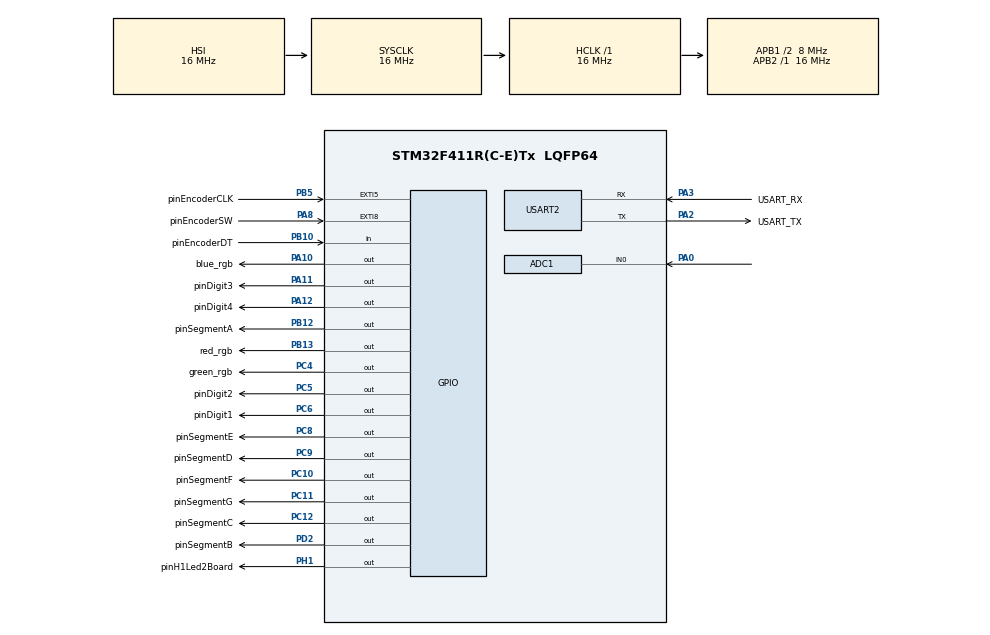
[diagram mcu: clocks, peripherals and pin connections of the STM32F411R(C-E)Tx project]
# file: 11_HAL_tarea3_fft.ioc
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ADC1.Channel-0\#ChannelRegularConversion=ADC_CHANNEL_0
ADC1.ExternalTrigConv=ADC_EXTERNALTRIGCONV_T3_TRGO
ADC1.NbrOfConversionFlag=1
ADC1.Rank-0\#ChannelRegularConversion=1
ADC1.SamplingTime-0\#ChannelRegularConversion=ADC_SAMPLETIME_3CYCLES
ADC1.master=1
Dma.ADC1.0.Direction=DMA_PERIPH_TO_MEMORY
Dma.ADC1.0.FIFOMode=DMA_FIFOMODE_DISABLE
Dma.ADC1.0.Instance=DMA2_Stream0
Dma.ADC1.0.MemDataAlignment=DMA_MDATAALIGN_HALFWORD
Dma.ADC1.0.MemInc=DMA_MINC_ENABLE
Dma.ADC1.0.Mode=DMA_CIRCULAR
Dma.ADC1.0.PeriphDataAlignment=DMA_PDATAALIGN_HALFWORD
Dma.ADC1.0.PeriphInc=DMA_PINC_DISABLE
Dma.ADC1.0.Priority=DMA_PRIORITY_LOW
Dma.Request0=ADC1
Dma.Request1=USART2_RX
Dma.USART2_RX.1.Direction=DMA_PERIPH_TO_MEMORY
Dma.USART2_RX.1.FIFOMode=DMA_FIFOMODE_DISABLE
Dma.USART2_RX.1.Instance=DMA1_Stream5
Dma.USART2_RX.1.MemDataAlignment=DMA_MDATAALIGN_BYTE
Dma.USART2_RX.1.MemInc=DMA_MINC_ENABLE
Dma.USART2_RX.1.Mode=DMA_NORMAL
Dma.USART2_RX.1.PeriphDataAlignment=DMA_PDATAALIGN_BYTE
Dma.USART2_RX.1.PeriphInc=DMA_PINC_DISABLE
Dma.USART2_RX.1.Priority=DMA_PRIORITY_LOW
Mcu.Family=STM32F4
Mcu.Name=STM32F411R(C-E)Tx
Mcu.Package=LQFP64
NVIC.DMA1_Stream5_IRQn=true\:0\:0\:false\:false\:true\:false\:true\:true
NVIC.DMA2_Stream0_IRQn=true\:0\:0\:false\:false\:true\:false\:true\:true
NVIC.EXTI9_5_IRQn=true\:0\:0\:false\:false\:true\:true\:true\:true
NVIC.PriorityGroup=NVIC_PRIORITYGROUP_0
NVIC.TIM2_IRQn=true\:0\:0\:false\:false\:true\:true\:true\:true
NVIC.TIM3_IRQn=true\:0\:0\:false\:false\:true\:true\:true\:true
NVIC.TIM4_IRQn=true\:0\:0\:false\:false\:true\:true\:true\:true
NVIC.USART2_IRQn=true\:0\:0\:false\:false\:true\:true\:true\:true
PA0-WKUP.Signal=ADCx_IN0
PA10.GPIO_Label=blue_rgb
PA10.Signal=GPIO_Output
PA11.GPIO_Label=pinDigit3
PA11.PinState=GPIO_PIN_SET
PA11.Signal=GPIO_Output
PA12.GPIO_Label=pinDigit4
PA12.PinState=GPIO_PIN_SET
PA12.Signal=GPIO_Output
PA13.GPIO_Label=TMS
PA13.Mode=Serial_Wire
PA13.Signal=SYS_JTMS-SWDIO
PA14.GPIO_Label=TCK
PA14.Mode=Serial_Wire
PA14.Signal=SYS_JTCK-SWCLK
PA2.GPIO_Label=USART_TX
PA2.Mode=Asynchronous
PA2.Signal=USART2_TX
PA3.GPIO_Label=USART_RX
PA3.Mode=Asynchronous
PA3.Signal=USART2_RX
PA8.GPIO_Label=pinEncoderSW
PA8.Signal=GPXTI8
PB10.GPIO_Label=pinEncoderDT
PB10.Signal=GPIO_Input
PB12.GPIO_Label=pinSegmentA
PB12.Signal=GPIO_Output
PB13.GPIO_Label=red_rgb
PB13.Signal=GPIO_Output
PB3.GPIO_Label=SWO
PB3.Signal=SYS_JTDO-SWO
PB5.GPIO_Label=pinEncoderCLK
PB5.Signal=GPXTI5
PC10.GPIO_Label=pinSegmentF
PC10.Signal=GPIO_Output
PC11.GPIO_Label=pinSegmentG
PC11.Signal=GPIO_Output
PC12.GPIO_Label=pinSegmentC
PC12.Signal=GPIO_Output
PC14-OSC32_IN.Signal=RCC_OSC32_IN
PC15-OSC32_OUT.Signal=RCC_OSC32_OUT
PC4.GPIO_Label=green_rgb
PC4.Signal=GPIO_Output
PC5.GPIO_Label=pinDigit2
PC5.PinState=GPIO_PIN_SET
PC5.Signal=GPIO_Output
PC6.GPIO_Label=pinDigit1
PC6.PinState=GPIO_PIN_SET
PC6.Signal=GPIO_Output
PC8.GPIO_Label=pinSegmentE
PC8.Signal=GPIO_Output
PC9.GPIO_Label=pinSegmentD
PC9.Signal=GPIO_Output
PD2.GPIO_Label=pinSegmentB
PD2.Signal=GPIO_Output
PH0\ -\ OSC_IN.Signal=RCC_OSC_IN
PH1\ -\ OSC_OUT.GPIO_Label=pinH1Led2Board
PH1\ -\ OSC_OUT.Signal=GPIO_Output
ProjectManager.HeapSize=0x200
ProjectManager.StackSize=0x400
ProjectManager.TargetToolchain=STM32CubeIDE
RCC.48MHZClocksFreq_Value=84000000
RCC.AHBFreq_Value=16000000
RCC.APB1CLKDivider=RCC_HCLK_DIV2
RCC.APB1Freq_Value=8000000
RCC.APB1TimFreq_Value=16000000
RCC.APB2Freq_Value=16000000
RCC.APB2TimFreq_Value=16000000
RCC.CortexFreq_Value=16000000
RCC.FLatency-AdvancedSettings=FLASH_LATENCY_0
RCC.HCLKFreq_Value=16000000
RCC.HSE_VALUE=8000000
RCC.HSI_VALUE=16000000
RCC.LSE_VALUE=32768
RCC.PLLN=336
RCC.PLLP=RCC_PLLP_DIV4
RCC.SYSCLKFreq_VALUE=16000000
RCC.VCOOutputFreq_Value=336000000
SH.ADCx_IN0.0=ADC1_IN0,IN0
TIM2.Period=502-1
TIM2.Prescaler=16000-1
TIM3.AutoReloadPreload=TIM_AUTORELOAD_PRELOAD_ENABLE
TIM3.Period=1200
TIM3.Prescaler=25
TIM3.TIM_MasterOutputTrigger=TIM_TRGO_UPDATE
TIM4.Period=2-1
TIM4.Prescaler=16000-1
USART2.VirtualMode=VM_ASYNC
VP_TIM2_VS_ClockSourceINT.Mode=Internal
VP_TIM3_VS_ClockSourceINT.Mode=Internal
VP_TIM4_VS_ClockSourceINT.Mode=Internal
board=NUCLEO-F411RE

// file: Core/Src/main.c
/* USER CODE BEGIN Header */
/**
  ******************************************************************************
  * @file           : main.c
  * @brief          : Main program body
  ******************************************************************************
  * @attention
  *
  * Copyright (c) 2025 STMicroelectronics.
  * All rights reserved.
  *
  * This software is licensed under terms that can be found in the LICENSE file
  * in the root directory of this software component.
  * If no LICENSE file comes with this software, it is provided AS-IS.
  *
  ******************************************************************************
  */
/* USER CODE END Header */
#include "main.h"

/* USER CODE BEGIN Includes */
// FFT
#include "arm_math.h"
#include <math.h>  // Para funciones sqrtf, powf, etc.

#include "arm_const_structs.h"
#include "maquina_estados_hal.h"
#include <stdint.h>
#include <stdlib.h>  // Para atoi()
#include <string.h>  // Para strncmp()
#include <stdio.h>
/* USER CODE END Includes */

/* USER CODE BEGIN PTD */
// Configuración de muestreo
typedef enum {
    FS_44100 = 0,
    FS_48000,
    FS_96000,
    FS_128000
} sample_rate_t;
/* USER CODE END PTD */

/* USER CODE BEGIN PD */
#define UART_RX_BUF_SIZE 64
#define FFT_SIZE_MAX 2048
#define ADC_BUF_SIZE 1024
#define ADC_TX_BLOCK_SIZE 64   // Para comandoPrintADC
#define FFT_TX_BLOCK_SIZE 32   // Para comandoPrintFFT
/* USER CODE END PD */

ADC_HandleTypeDef hadc1;
DMA_HandleTypeDef hdma_adc1;

TIM_HandleTypeDef htim2;
TIM_HandleTypeDef htim3;
TIM_HandleTypeDef htim4;

UART_HandleTypeDef huart2;
DMA_HandleTypeDef hdma_usart2_rx;

/* USER CODE BEGIN PV */

volatile uint8_t flag_adc_ready = 0;

arm_rfft_fast_instance_f32 fftInstance;
float32_t fft_input[FFT_SIZE_MAX];   // Entrada para la FFT (real)
float32_t fft_output[FFT_SIZE_MAX];  // Salida de la FFT (compleja: real, imag, ...)
float32_t fft_mag[FFT_SIZE_MAX / 2]; // Magnitudes (solo mitad significativa)

volatile uint8_t fft_ready = 0;      // Bandera FFT calculada

volatile sample_rate_t current_sample_rate = FS_48000;  // Valor por defecto
volatile uint16_t fft_size = 1024;                     // Tamaño FFT por defecto

static uint16_t adc_buffer[2048];  // Máximo tamaño necesario
volatile uint8_t uart_rx_flag = 0;
uint8_t uart_rx_buffer[UART_RX_BUF_SIZE];
uint8_t uart_rx_index = 0;

volatile uint8_t timer2FLAG = 0;
volatile uint8_t display7segmentFLAG = 0;
volatile uint8_t encoderCLKextiFLAG = 0;
volatile uint8_t encoderSWextiFLAG = 0;

uint8_t valorCLK=0;
uint8_t valorDT =0;

uint8_t contadorDigito = 0;
uint16_t contador = 0;
uint8_t miles = 0;
uint8_t centenas = 0;
uint8_t decenas = 0;
uint8_t	unidades = 0;

fsm_states_t stateMachine = {0};
/* USER CODE END PV */

void SystemClock_Config(void);
static void MX_GPIO_Init(void);
static void MX_DMA_Init(void);
static void MX_USART2_UART_Init(void);
static void MX_TIM2_Init(void);
static void MX_TIM3_Init(void);
static void MX_ADC1_Init(void);
static void MX_TIM4_Init(void);
/* USER CODE BEGIN PFP */
void set_sample_rate(sample_rate_t new_rate);
void set_fft_size(uint16_t new_size);
void comandoHelp(void);
void comandoPrintFFTPeak(void);
void compute_fft(void);
void clean_command(char* cmd);
void comandoPrintADC(void);
void comandoFrecuenciaMuestreo(char* command);
void comandoRGB(char* command);
void comandoLED(char* command);
void configure_sample_timer(sample_rate_t sample_rate);
void ProcessUARTCommand(char* command);
e_PosibleStates state_machine_action(uint8_t event);
void segmentoON(uint8_t number);
void divideNumber(uint16_t contador);
void mostrarUnidades(void);
void mostrarDecenas(void);
void mostrarCentenas(void);
void mostrarMiles(void);
void update7SegmentDisplay(void);
void InitProgram(void);
/* USER CODE END PFP */

int main(void)
{

  /* MCU Configuration--------------------------------------------------------*/

  /* Reset of all peripherals, Initializes the Flash interface and the Systick. */
  HAL_Init();

  /* Configure the system clock */
  SystemClock_Config();

  /* Initialize all configured peripherals */
  MX_GPIO_Init();
  MX_DMA_Init();
  MX_USART2_UART_Init();
  MX_TIM2_Init();
  MX_TIM3_Init();
  MX_ADC1_Init();
  MX_TIM4_Init();
  /* USER CODE BEGIN 2 */
  InitProgram();

  arm_rfft_fast_init_f32(&fftInstance, fft_size);
  HAL_TIM_Base_Start(&htim3);
  HAL_TIM_Base_Start_IT(&htim2);
  HAL_TIM_Base_Start_IT(&htim4);
  HAL_UART_Receive_IT(&huart2, &uart_rx_buffer[0], 1); // Iniciar recepción UART
  HAL_ADC_Start_DMA(&hadc1, (uint32_t*)adc_buffer, fft_size);
  configure_sample_timer(current_sample_rate);

  /* USER CODE END 2 */

  /* Infinite loop */
  /* USER CODE BEGIN WHILE */
  while (1)
  {
	  state_machine_action(0);
    /* USER CODE END WHILE */

  }
}

void SystemClock_Config(void)
{
  RCC_OscInitTypeDef RCC_OscInitStruct = {0};
  RCC_ClkInitTypeDef RCC_ClkInitStruct = {0};

  /** Configure the main internal regulator output voltage
  */
  __HAL_RCC_PWR_CLK_ENABLE();
  __HAL_PWR_VOLTAGESCALING_CONFIG(PWR_REGULATOR_VOLTAGE_SCALE1);

  /** Initializes the RCC Oscillators according to the specified parameters
  * in the RCC_OscInitTypeDef structure.
  */
  RCC_OscInitStruct.OscillatorType = RCC_OSCILLATORTYPE_HSI;
  RCC_OscInitStruct.HSIState = RCC_HSI_ON;
  RCC_OscInitStruct.HSICalibrationValue = RCC_HSICALIBRATION_DEFAULT;
  RCC_OscInitStruct.PLL.PLLState = RCC_PLL_NONE;
  if (HAL_RCC_OscConfig(&RCC_OscInitStruct) != HAL_OK)
  {
    Error_Handler();
  }

  /** Initializes the CPU, AHB and APB buses clocks
  */
  RCC_ClkInitStruct.ClockType = RCC_CLOCKTYPE_HCLK|RCC_CLOCKTYPE_SYSCLK
                              |RCC_CLOCKTYPE_PCLK1|RCC_CLOCKTYPE_PCLK2;
  RCC_ClkInitStruct.SYSCLKSource = RCC_SYSCLKSOURCE_HSI;
  RCC_ClkInitStruct.AHBCLKDivider = RCC_SYSCLK_DIV1;
  RCC_ClkInitStruct.APB1CLKDivider = RCC_HCLK_DIV2;
  RCC_ClkInitStruct.APB2CLKDivider = RCC_HCLK_DIV1;

  if (HAL_RCC_ClockConfig(&RCC_ClkInitStruct, FLASH_LATENCY_0) != HAL_OK)
  {
    Error_Handler();
  }
}

static void MX_ADC1_Init(void)
{

  ADC_ChannelConfTypeDef sConfig = {0};

  /** Configure the global features of the ADC (Clock, Resolution, Data Alignment and number of conversion)
  */
  hadc1.Instance = ADC1;
  hadc1.Init.ClockPrescaler = ADC_CLOCK_SYNC_PCLK_DIV2;
  hadc1.Init.Resolution = ADC_RESOLUTION_12B;
  hadc1.Init.ScanConvMode = DISABLE;
  hadc1.Init.ContinuousConvMode = DISABLE;
  hadc1.Init.DiscontinuousConvMode = DISABLE;
  hadc1.Init.ExternalTrigConvEdge = ADC_EXTERNALTRIGCONVEDGE_RISING;
  hadc1.Init.ExternalTrigConv = ADC_EXTERNALTRIGCONV_T3_TRGO;
  hadc1.Init.DataAlign = ADC_DATAALIGN_RIGHT;
  hadc1.Init.NbrOfConversion = 1;
  hadc1.Init.DMAContinuousRequests = DISABLE;
  hadc1.Init.EOCSelection = ADC_EOC_SINGLE_CONV;
  if (HAL_ADC_Init(&hadc1) != HAL_OK)
  {
    Error_Handler();
  }

  /** Configure for the selected ADC regular channel its corresponding rank in the sequencer and its sample time.
  */
  sConfig.Channel = ADC_CHANNEL_0;
  sConfig.Rank = 1;
  sConfig.SamplingTime = ADC_SAMPLETIME_3CYCLES;
  if (HAL_ADC_ConfigChannel(&hadc1, &sConfig) != HAL_OK)
  {
    Error_Handler();
  }

}

static void MX_TIM2_Init(void)
{

  TIM_ClockConfigTypeDef sClockSourceConfig = {0};
  TIM_MasterConfigTypeDef sMasterConfig = {0};

  htim2.Instance = TIM2;
  htim2.Init.Prescaler = 16000-1;
  htim2.Init.CounterMode = TIM_COUNTERMODE_UP;
  htim2.Init.Period = 502-1;
  htim2.Init.ClockDivision = TIM_CLOCKDIVISION_DIV1;
  htim2.Init.AutoReloadPreload = TIM_AUTORELOAD_PRELOAD_DISABLE;
  if (HAL_TIM_Base_Init(&htim2) != HAL_OK)
  {
    Error_Handler();
  }
  sClockSourceConfig.ClockSource = TIM_CLOCKSOURCE_INTERNAL;
  if (HAL_TIM_ConfigClockSource(&htim2, &sClockSourceConfig) != HAL_OK)
  {
    Error_Handler();
  }
  sMasterConfig.MasterOutputTrigger = TIM_TRGO_RESET;
  sMasterConfig.MasterSlaveMode = TIM_MASTERSLAVEMODE_DISABLE;
  if (HAL_TIMEx_MasterConfigSynchronization(&htim2, &sMasterConfig) != HAL_OK)
  {
    Error_Handler();
  }

}

static void MX_TIM3_Init(void)
{

  TIM_ClockConfigTypeDef sClockSourceConfig = {0};
  TIM_MasterConfigTypeDef sMasterConfig = {0};

  htim3.Instance = TIM3;
  htim3.Init.Prescaler = 25;
  htim3.Init.CounterMode = TIM_COUNTERMODE_UP;
  htim3.Init.Period = 1200;
  htim3.Init.ClockDivision = TIM_CLOCKDIVISION_DIV1;
  htim3.Init.AutoReloadPreload = TIM_AUTORELOAD_PRELOAD_ENABLE;
  if (HAL_TIM_Base_Init(&htim3) != HAL_OK)
  {
    Error_Handler();
  }
  sClockSourceConfig.ClockSource = TIM_CLOCKSOURCE_INTERNAL;
  if (HAL_TIM_ConfigClockSource(&htim3, &sClockSourceConfig) != HAL_OK)
  {
    Error_Handler();
  }
  sMasterConfig.MasterOutputTrigger = TIM_TRGO_UPDATE;
  sMasterConfig.MasterSlaveMode = TIM_MASTERSLAVEMODE_DISABLE;
  if (HAL_TIMEx_MasterConfigSynchronization(&htim3, &sMasterConfig) != HAL_OK)
  {
    Error_Handler();
  }

}

static void MX_TIM4_Init(void)
{

  TIM_ClockConfigTypeDef sClockSourceConfig = {0};
  TIM_MasterConfigTypeDef sMasterConfig = {0};

  htim4.Instance = TIM4;
  htim4.Init.Prescaler = 16000-1;
  htim4.Init.CounterMode = TIM_COUNTERMODE_UP;
  htim4.Init.Period = 2-1;
  htim4.Init.ClockDivision = TIM_CLOCKDIVISION_DIV1;
  htim4.Init.AutoReloadPreload = TIM_AUTORELOAD_PRELOAD_DISABLE;
  if (HAL_TIM_Base_Init(&htim4) != HAL_OK)
  {
    Error_Handler();
  }
  sClockSourceConfig.ClockSource = TIM_CLOCKSOURCE_INTERNAL;
  if (HAL_TIM_ConfigClockSource(&htim4, &sClockSourceConfig) != HAL_OK)
  {
    Error_Handler();
  }
  sMasterConfig.MasterOutputTrigger = TIM_TRGO_RESET;
  sMasterConfig.MasterSlaveMode = TIM_MASTERSLAVEMODE_DISABLE;
  if (HAL_TIMEx_MasterConfigSynchronization(&htim4, &sMasterConfig) != HAL_OK)
  {
    Error_Handler();
  }

}

static void MX_USART2_UART_Init(void)
{

  huart2.Instance = USART2;
  huart2.Init.BaudRate = 115200;
  huart2.Init.WordLength = UART_WORDLENGTH_8B;
  huart2.Init.StopBits = UART_STOPBITS_1;
  huart2.Init.Parity = UART_PARITY_NONE;
  huart2.Init.Mode = UART_MODE_TX_RX;
  huart2.Init.HwFlowCtl = UART_HWCONTROL_NONE;
  huart2.Init.OverSampling = UART_OVERSAMPLING_16;
  if (HAL_UART_Init(&huart2) != HAL_OK)
  {
    Error_Handler();
  }

}

static void MX_DMA_Init(void)
{

  /* DMA controller clock enable */
  __HAL_RCC_DMA2_CLK_ENABLE();
  __HAL_RCC_DMA1_CLK_ENABLE();

  /* DMA interrupt init */
  /* DMA1_Stream5_IRQn interrupt configuration */
  HAL_NVIC_SetPriority(DMA1_Stream5_IRQn, 0, 0);
  HAL_NVIC_EnableIRQ(DMA1_Stream5_IRQn);
  /* DMA2_Stream0_IRQn interrupt configuration */
  HAL_NVIC_SetPriority(DMA2_Stream0_IRQn, 0, 0);
  HAL_NVIC_EnableIRQ(DMA2_Stream0_IRQn);

}

static void MX_GPIO_Init(void)
{
  GPIO_InitTypeDef GPIO_InitStruct = {0};

  /* GPIO Ports Clock Enable */
  __HAL_RCC_GPIOC_CLK_ENABLE();
  __HAL_RCC_GPIOH_CLK_ENABLE();
  __HAL_RCC_GPIOA_CLK_ENABLE();
  __HAL_RCC_GPIOB_CLK_ENABLE();
  __HAL_RCC_GPIOD_CLK_ENABLE();

  /*Configure GPIO pin Output Level */
  HAL_GPIO_WritePin(pinH1Led2Board_GPIO_Port, pinH1Led2Board_Pin, GPIO_PIN_RESET);

  /*Configure GPIO pin Output Level */
  HAL_GPIO_WritePin(GPIOC, green_rgb_Pin|pinSegmentE_Pin|pinSegmentD_Pin|pinSegmentF_Pin
                          |pinSegmentG_Pin|pinSegmentC_Pin, GPIO_PIN_RESET);

  /*Configure GPIO pin Output Level */
  HAL_GPIO_WritePin(GPIOC, pinDigit2_Pin|pinDigit1_Pin, GPIO_PIN_SET);

  /*Configure GPIO pin Output Level */
  HAL_GPIO_WritePin(GPIOB, pinSegmentA_Pin|red_rgb_Pin, GPIO_PIN_RESET);

  /*Configure GPIO pin Output Level */
  HAL_GPIO_WritePin(blue_rgb_GPIO_Port, blue_rgb_Pin, GPIO_PIN_RESET);

  /*Configure GPIO pin Output Level */
  HAL_GPIO_WritePin(GPIOA, pinDigit3_Pin|pinDigit4_Pin, GPIO_PIN_SET);

  /*Configure GPIO pin Output Level */
  HAL_GPIO_WritePin(pinSegmentB_GPIO_Port, pinSegmentB_Pin, GPIO_PIN_RESET);

  /*Configure GPIO pin : pinH1Led2Board_Pin */
  GPIO_InitStruct.Pin = pinH1Led2Board_Pin;
  GPIO_InitStruct.Mode = GPIO_MODE_OUTPUT_PP;
  GPIO_InitStruct.Pull = GPIO_NOPULL;
  GPIO_InitStruct.Speed = GPIO_SPEED_FREQ_LOW;
  HAL_GPIO_Init(pinH1Led2Board_GPIO_Port, &GPIO_InitStruct);

  /*Configure GPIO pins : green_rgb_Pin pinDigit2_Pin pinDigit1_Pin pinSegmentE_Pin
                           pinSegmentD_Pin pinSegmentF_Pin pinSegmentG_Pin pinSegmentC_Pin */
  GPIO_InitStruct.Pin = green_rgb_Pin|pinDigit2_Pin|pinDigit1_Pin|pinSegmentE_Pin
                          |pinSegmentD_Pin|pinSegmentF_Pin|pinSegmentG_Pin|pinSegmentC_Pin;
  GPIO_InitStruct.Mode = GPIO_MODE_OUTPUT_PP;
  GPIO_InitStruct.Pull = GPIO_NOPULL;
  GPIO_InitStruct.Speed = GPIO_SPEED_FREQ_LOW;
  HAL_GPIO_Init(GPIOC, &GPIO_InitStruct);

  /*Configure GPIO pin : pinEncoderDT_Pin */
  GPIO_InitStruct.Pin = pinEncoderDT_Pin;
  GPIO_InitStruct.Mode = GPIO_MODE_INPUT;
  GPIO_InitStruct.Pull = GPIO_NOPULL;
  HAL_GPIO_Init(pinEncoderDT_GPIO_Port, &GPIO_InitStruct);

  /*Configure GPIO pins : pinSegmentA_Pin red_rgb_Pin */
  GPIO_InitStruct.Pin = pinSegmentA_Pin|red_rgb_Pin;
  GPIO_InitStruct.Mode = GPIO_MODE_OUTPUT_PP;
  GPIO_InitStruct.Pull = GPIO_NOPULL;
  GPIO_InitStruct.Speed = GPIO_SPEED_FREQ_LOW;
  HAL_GPIO_Init(GPIOB, &GPIO_InitStruct);

  /*Configure GPIO pin : pinEncoderSW_Pin */
  GPIO_InitStruct.Pin = pinEncoderSW_Pin;
  GPIO_InitStruct.Mode = GPIO_MODE_IT_RISING;
  GPIO_InitStruct.Pull = GPIO_NOPULL;
  HAL_GPIO_Init(pinEncoderSW_GPIO_Port, &GPIO_InitStruct);

  /*Configure GPIO pins : blue_rgb_Pin pinDigit3_Pin pinDigit4_Pin */
  GPIO_InitStruct.Pin = blue_rgb_Pin|pinDigit3_Pin|pinDigit4_Pin;
  GPIO_InitStruct.Mode = GPIO_MODE_OUTPUT_PP;
  GPIO_InitStruct.Pull = GPIO_NOPULL;
  GPIO_InitStruct.Speed = GPIO_SPEED_FREQ_LOW;
  HAL_GPIO_Init(GPIOA, &GPIO_InitStruct);

  /*Configure GPIO pin : pinSegmentB_Pin */
  GPIO_InitStruct.Pin = pinSegmentB_Pin;
  GPIO_InitStruct.Mode = GPIO_MODE_OUTPUT_PP;
  GPIO_InitStruct.Pull = GPIO_NOPULL;
  GPIO_InitStruct.Speed = GPIO_SPEED_FREQ_LOW;
  HAL_GPIO_Init(pinSegmentB_GPIO_Port, &GPIO_InitStruct);

  /*Configure GPIO pin : pinEncoderCLK_Pin */
  GPIO_InitStruct.Pin = pinEncoderCLK_Pin;
  GPIO_InitStruct.Mode = GPIO_MODE_IT_RISING;
  GPIO_InitStruct.Pull = GPIO_NOPULL;
  HAL_GPIO_Init(pinEncoderCLK_GPIO_Port, &GPIO_InitStruct);

  /* EXTI interrupt init*/
  HAL_NVIC_SetPriority(EXTI9_5_IRQn, 0, 0);
  HAL_NVIC_EnableIRQ(EXTI9_5_IRQn);

}

/* USER CODE BEGIN 4 */
//Funcion para inicar la FSM en el estado base. El main.c con drivers propios no lo tiene
void InitProgram(void)
{
	stateMachine.state=IDLE;
}

// maquina de estados
e_PosibleStates state_machine_action(uint8_t event)
{
	switch (stateMachine.state){
	case IDLE:
	{
		if(flag_adc_ready)
		{
			compute_fft();
			flag_adc_ready = 0;
		}
	    if(uart_rx_flag)
	    {
	    	stateMachine.state=PROCESANDO_COMANDO;
	    	uart_rx_flag = 0;
	    }
		if(display7segmentFLAG)
		{
			update7SegmentDisplay();
			display7segmentFLAG = 0;
		}

		if(timer2FLAG)
		{
			HAL_GPIO_TogglePin(pinH1Led2Board_GPIO_Port, pinH1Led2Board_Pin);
			timer2FLAG = 0;
		}
		if(encoderCLKextiFLAG)
		{
			stateMachine.state = ROTACION;
			state_machine_action(0);
			encoderCLKextiFLAG = 0;
		}
		if(encoderSWextiFLAG)
		{
			stateMachine.state = BOTON_SW;
			state_machine_action(0);
			encoderSWextiFLAG = 0;
		}
	}
	return stateMachine.state;

	case PROCESANDO_COMANDO:
	{
	  stateMachine.state=IDLE;
	  uart_rx_buffer[uart_rx_index] = '\0'; // Terminar cadena
	  ProcessUARTCommand((char*)uart_rx_buffer);
	  uart_rx_index = 0;
	  HAL_UART_Receive_IT(&huart2, &uart_rx_buffer[uart_rx_index], 1);
	}
	return stateMachine.state;

	case ROTACION:
	{
		stateMachine.state=IDLE;
		if(valorCLK != valorDT)
		{
			if(contador == 4095)
			{
				contador = 0;
			}
			else
			{
				contador++;

			}
		}
		else
		{
			if(contador == 0)
				{
					contador = 4095;
				}
			else
				{
				contador--;
				}
		}
	}
	return stateMachine.state;

	case BOTON_SW:
	{
		stateMachine.state=IDLE;
		contador = 0;
	}
	return stateMachine.state;

	default:
		{
		stateMachine.state = IDLE;
		return stateMachine.state;
		}

	}
}

// %%%%%%%%% FUNCIONES PRIVADAS USER %%%%%%%%%%%%

void divideNumber(uint16_t contador)
{
	if(contador ==4096)
	{
		contador = 0;
	}
	miles = contador/1000;
	centenas = contador/100 %10;
	decenas = contador/10 %10;
	unidades = contador%10;
}

void segmentoON(uint8_t number)
{
	switch(number)
	{

		case 0:
			HAL_GPIO_WritePin(pinSegmentA_GPIO_Port, pinSegmentA_Pin, SET);
			HAL_GPIO_WritePin(pinSegmentA_GPIO_Port, pinSegmentA_Pin, SET);
			HAL_GPIO_WritePin(pinSegmentB_GPIO_Port, pinSegmentB_Pin, SET);
			HAL_GPIO_WritePin(pinSegmentC_GPIO_Port, pinSegmentC_Pin, SET);
			HAL_GPIO_WritePin(pinSegmentD_GPIO_Port, pinSegmentD_Pin, SET);
			HAL_GPIO_WritePin(pinSegmentE_GPIO_Port, pinSegmentE_Pin, SET);
			HAL_GPIO_WritePin(pinSegmentF_GPIO_Port, pinSegmentF_Pin, SET);
			HAL_GPIO_WritePin(pinSegmentG_GPIO_Port, pinSegmentG_Pin, RESET);
		break;

		case 1:
			HAL_GPIO_WritePin(pinSegmentA_GPIO_Port, pinSegmentA_Pin, RESET);
			HAL_GPIO_WritePin(pinSegmentB_GPIO_Port, pinSegmentB_Pin, SET);
			HAL_GPIO_WritePin(pinSegmentC_GPIO_Port, pinSegmentC_Pin, SET);
			HAL_GPIO_WritePin(pinSegmentD_GPIO_Port, pinSegmentD_Pin, RESET);
			HAL_GPIO_WritePin(pinSegmentE_GPIO_Port, pinSegmentE_Pin, RESET);
			HAL_GPIO_WritePin(pinSegmentF_GPIO_Port, pinSegmentF_Pin, RESET);
			HAL_GPIO_WritePin(pinSegmentG_GPIO_Port, pinSegmentG_Pin, RESET);
		break;

		case 2:
			HAL_GPIO_WritePin(pinSegmentA_GPIO_Port, pinSegmentA_Pin, SET);
			HAL_GPIO_WritePin(pinSegmentB_GPIO_Port, pinSegmentB_Pin, SET);
			HAL_GPIO_WritePin(pinSegmentC_GPIO_Port, pinSegmentC_Pin, RESET);
			HAL_GPIO_WritePin(pinSegmentD_GPIO_Port, pinSegmentD_Pin, SET);
			HAL_GPIO_WritePin(pinSegmentE_GPIO_Port, pinSegmentE_Pin, SET);
			HAL_GPIO_WritePin(pinSegmentF_GPIO_Port, pinSegmentF_Pin, RESET);
			HAL_GPIO_WritePin(pinSegmentG_GPIO_Port, pinSegmentG_Pin, SET);
		break;

		case 3:
			HAL_GPIO_WritePin(pinSegmentA_GPIO_Port, pinSegmentA_Pin, SET);
			HAL_GPIO_WritePin(pinSegmentB_GPIO_Port, pinSegmentB_Pin, SET);
			HAL_GPIO_WritePin(pinSegmentC_GPIO_Port, pinSegmentC_Pin, SET);
			HAL_GPIO_WritePin(pinSegmentD_GPIO_Port, pinSegmentD_Pin, SET);
			HAL_GPIO_WritePin(pinSegmentE_GPIO_Port, pinSegmentE_Pin, RESET);
			HAL_GPIO_WritePin(pinSegmentF_GPIO_Port, pinSegmentF_Pin, RESET);
			HAL_GPIO_WritePin(pinSegmentG_GPIO_Port, pinSegmentG_Pin, SET);
		break;

		case 4:
			HAL_GPIO_WritePin(pinSegmentA_GPIO_Port, pinSegmentA_Pin, RESET);
			HAL_GPIO_WritePin(pinSegmentB_GPIO_Port, pinSegmentB_Pin, SET);
			HAL_GPIO_WritePin(pinSegmentC_GPIO_Port, pinSegmentC_Pin, SET);
			HAL_GPIO_WritePin(pinSegmentD_GPIO_Port, pinSegmentD_Pin, RESET);
			HAL_GPIO_WritePin(pinSegmentE_GPIO_Port, pinSegmentE_Pin, RESET);
			HAL_GPIO_WritePin(pinSegmentF_GPIO_Port, pinSegmentF_Pin, SET);
			HAL_GPIO_WritePin(pinSegmentG_GPIO_Port, pinSegmentG_Pin, SET);
		break;

		case 5:
			HAL_GPIO_WritePin(pinSegmentA_GPIO_Port, pinSegmentA_Pin, SET);
			HAL_GPIO_WritePin(pinSegmentB_GPIO_Port, pinSegmentB_Pin, RESET);
			HAL_GPIO_WritePin(pinSegmentC_GPIO_Port, pinSegmentC_Pin, SET);
			HAL_GPIO_WritePin(pinSegmentD_GPIO_Port, pinSegmentD_Pin, SET);
			HAL_GPIO_WritePin(pinSegmentE_GPIO_Port, pinSegmentE_Pin, RESET);
			HAL_GPIO_WritePin(pinSegmentF_GPIO_Port, pinSegmentF_Pin, SET);
			HAL_GPIO_WritePin(pinSegmentG_GPIO_Port, pinSegmentG_Pin, SET);
		break;

		case 6:
			HAL_GPIO_WritePin(pinSegmentA_GPIO_Port, pinSegmentA_Pin, SET);
			HAL_GPIO_WritePin(pinSegmentB_GPIO_Port, pinSegmentB_Pin, RESET);
			HAL_GPIO_WritePin(pinSegmentC_GPIO_Port, pinSegmentC_Pin, SET);
			HAL_GPIO_WritePin(pinSegmentD_GPIO_Port, pinSegmentD_Pin, SET);
			HAL_GPIO_WritePin(pinSegmentE_GPIO_Port, pinSegmentE_Pin, SET);
			HAL_GPIO_WritePin(pinSegmentF_GPIO_Port, pinSegmentF_Pin, SET);
			HAL_GPIO_WritePin(pinSegmentG_GPIO_Port, pinSegmentG_Pin, SET);
		break;

		case 7:
			HAL_GPIO_WritePin(pinSegmentA_GPIO_Port, pinSegmentA_Pin, SET);
			HAL_GPIO_WritePin(pinSegmentB_GPIO_Port, pinSegmentB_Pin, SET);
			HAL_GPIO_WritePin(pinSegmentC_GPIO_Port, pinSegmentC_Pin, SET);
			HAL_GPIO_WritePin(pinSegmentD_GPIO_Port, pinSegmentD_Pin, RESET);
			HAL_GPIO_WritePin(pinSegmentE_GPIO_Port, pinSegmentE_Pin, RESET);
			HAL_GPIO_WritePin(pinSegmentF_GPIO_Port, pinSegmentF_Pin, RESET);
			HAL_GPIO_WritePin(pinSegmentG_GPIO_Port, pinSegmentG_Pin, RESET);
		break;

		case 8:
			HAL_GPIO_WritePin(pinSegmentA_GPIO_Port, pinSegmentA_Pin, SET);
			HAL_GPIO_WritePin(pinSegmentB_GPIO_Port, pinSegmentB_Pin, SET);
			HAL_GPIO_WritePin(pinSegmentC_GPIO_Port, pinSegmentC_Pin, SET);
			HAL_GPIO_WritePin(pinSegmentD_GPIO_Port, pinSegmentD_Pin, SET);
			HAL_GPIO_WritePin(pinSegmentE_GPIO_Port, pinSegmentE_Pin, SET);
			HAL_GPIO_WritePin(pinSegmentF_GPIO_Port, pinSegmentF_Pin, SET);
			HAL_GPIO_WritePin(pinSegmentG_GPIO_Port, pinSegmentG_Pin, SET);
		break;

		case 9:
			HAL_GPIO_WritePin(pinSegmentA_GPIO_Port, pinSegmentA_Pin, SET);
			HAL_GPIO_WritePin(pinSegmentB_GPIO_Port, pinSegmentB_Pin, SET);
			HAL_GPIO_WritePin(pinSegmentC_GPIO_Port, pinSegmentC_Pin, SET);
			HAL_GPIO_WritePin(pinSegmentD_GPIO_Port, pinSegmentD_Pin, SET);
			HAL_GPIO_WritePin(pinSegmentE_GPIO_Port, pinSegmentE_Pin, RESET);
			HAL_GPIO_WritePin(pinSegmentF_GPIO_Port, pinSegmentF_Pin, SET);
			HAL_GPIO_WritePin(pinSegmentG_GPIO_Port, pinSegmentG_Pin, SET);
		break;

		default:
		{
			break;
		}
	}
}

void mostrarUnidades(void)
{
	HAL_GPIO_WritePin(pinDigit1_GPIO_Port,pinDigit1_Pin, SET);
	HAL_GPIO_WritePin(pinDigit1_GPIO_Port,pinDigit1_Pin,SET);
	HAL_GPIO_WritePin(pinDigit2_GPIO_Port,pinDigit2_Pin,SET);
	HAL_GPIO_WritePin(pinDigit3_GPIO_Port,pinDigit3_Pin,SET);
	segmentoON(unidades);
	HAL_GPIO_WritePin(pinDigit4_GPIO_Port,pinDigit4_Pin,RESET);
}

void mostrarDecenas(void)
{
	HAL_GPIO_WritePin(pinDigit1_GPIO_Port,pinDigit1_Pin,SET);
	HAL_GPIO_WritePin(pinDigit2_GPIO_Port,pinDigit2_Pin,SET);
	HAL_GPIO_WritePin(pinDigit4_GPIO_Port,pinDigit4_Pin,SET);
	segmentoON(decenas);
	HAL_GPIO_WritePin(pinDigit3_GPIO_Port,pinDigit3_Pin,RESET);
}

void mostrarCentenas(void)
{
	HAL_GPIO_WritePin(pinDigit1_GPIO_Port,pinDigit1_Pin,SET);
	HAL_GPIO_WritePin(pinDigit4_GPIO_Port,pinDigit4_Pin,SET);
	HAL_GPIO_WritePin(pinDigit3_GPIO_Port,pinDigit3_Pin,SET);
	segmentoON(centenas);
	HAL_GPIO_WritePin(pinDigit2_GPIO_Port,pinDigit2_Pin,RESET);
}

void mostrarMiles(void)
{
	HAL_GPIO_WritePin(pinDigit4_GPIO_Port,pinDigit4_Pin,SET);
	HAL_GPIO_WritePin(pinDigit2_GPIO_Port,pinDigit2_Pin,SET);
	HAL_GPIO_WritePin(pinDigit3_GPIO_Port,pinDigit3_Pin,SET);
	segmentoON(miles);
	HAL_GPIO_WritePin(pinDigit1_GPIO_Port,pinDigit1_Pin,RESET);
}

void update7SegmentDisplay(void)
{
	divideNumber(contador);
	if(contadorDigito == 4)
	{
		contadorDigito = 0;
	}
	switch(contadorDigito)
	{
		case 0:
			mostrarUnidades();
		break;
		case 1:
			mostrarDecenas();
		break;
		case 2:
			mostrarCentenas();
		break;
		case 3:
			mostrarMiles();
		break;
	}
	contadorDigito++;
}

void configure_sample_timer(sample_rate_t sample_rate) {
    // Detener el timer y ADC antes de cambiar
    HAL_TIM_Base_Stop(&htim3);
    HAL_ADC_Stop_DMA(&hadc1);

    // Configurar TIM3 según la frecuencia seleccionada
    switch(sample_rate) {
        case FS_44100:
            __HAL_TIM_SET_PRESCALER(&htim3, 0);
            __HAL_TIM_SET_AUTORELOAD(&htim3, 363);  // 16MHz / 44100 ≈ 363
            break;
        case FS_48000:
            __HAL_TIM_SET_PRESCALER(&htim3, 0);
            __HAL_TIM_SET_AUTORELOAD(&htim3, 333);  // 16MHz / 48000 ≈ 333
            break;
        case FS_96000:
            __HAL_TIM_SET_PRESCALER(&htim3, 0);
            __HAL_TIM_SET_AUTORELOAD(&htim3, 167);  // 16MHz / 96000 ≈ 167
            break;
        case FS_128000:
            __HAL_TIM_SET_PRESCALER(&htim3, 0);
            __HAL_TIM_SET_AUTORELOAD(&htim3, 125);  // 16MHz / 128000 = 125
            break;

            // Reinicializar FFT con nuevo tamaño
            arm_rfft_fast_init_f32(&fftInstance, fft_size);
            fft_ready = 0;
    }

    // Reiniciar contador y periféricos
    __HAL_TIM_SET_COUNTER(&htim3, 0);
    HAL_TIM_Base_Start(&htim3);
    HAL_ADC_Start_DMA(&hadc1, (uint32_t*)adc_buffer, fft_size);
}

void comandoLED(char* command)
{
    int freq = atoi(command + 5);  // Convertir valor después del '='

    if (freq >= 1 && freq <= 100) {  // Rango válido 1-100 Hz
      // Calcular nuevo período (TIM2 clock = 16MHz / 16000 = 1KHz)
      uint32_t new_period = (1000 / freq) - 1;

      // Actualizar configuración del TIMER
      HAL_TIM_Base_Stop_IT(&htim2);
      __HAL_TIM_SET_AUTORELOAD(&htim2, new_period);
      __HAL_TIM_SET_COUNTER(&htim2, 0);
      HAL_TIM_Base_Start_IT(&htim2);

      // Confirmación por UART
      char response[50];
      int len = snprintf(response, sizeof(response), "OK:FREQ=%dHz\r\n", freq);
      HAL_UART_Transmit(&huart2, (uint8_t*)response, len, 100);
    }
    else {
      const char* error_msg = "ERROR:Frecuencia invalida (1-100Hz)\r\n";
      HAL_UART_Transmit(&huart2, (uint8_t*)error_msg, strlen(error_msg), 100);
    }

}

void comandoRGB(char* command)
{

    int r, g, b;
    if (sscanf(command + 4, "%d,%d,%d", &r, &g, &b) == 3) {
      // Validar valores
      r = (r != 0) ? 1 : 0;
      g = (g != 0) ? 1 : 0;
      b = (b != 0) ? 1 : 0;

      // Controlar LEDs
      HAL_GPIO_WritePin(red_rgb_GPIO_Port, red_rgb_Pin, r ? GPIO_PIN_SET : GPIO_PIN_RESET);
      HAL_GPIO_WritePin(green_rgb_GPIO_Port, green_rgb_Pin, g ? GPIO_PIN_SET : GPIO_PIN_RESET);
      HAL_GPIO_WritePin(blue_rgb_GPIO_Port, blue_rgb_Pin, b ? GPIO_PIN_SET : GPIO_PIN_RESET);

      // Confirmación
      char response[32];
      int len = snprintf(response, sizeof(response), "OK:RGB=%d,%d,%d\r\n", r, g, b);
      HAL_UART_Transmit(&huart2, (uint8_t*)response, len, 100);
    } else {
      const char* error_msg = "ERROR:Formato RGB invalido. Usar RGB=r,g,b\r\n";
      HAL_UART_Transmit(&huart2, (uint8_t*)error_msg, strlen(error_msg), 100);
    }

}

//void comandoFrecuenciaMuestreo(char* command)
//{
//
//    char* params = command + 12;
//    char* rate_str = strtok(params, ",");
//    char* size_str = strtok(NULL, ",");
//
//    // Procesar frecuencia
//    sample_rate_t new_rate = current_sample_rate;
//    if (rate_str) {
//        if (strcmp(rate_str, "44100") == 0) new_rate = FS_44100;
//        else if (strcmp(rate_str, "48000") == 0) new_rate = FS_48000;
//        else if (strcmp(rate_str, "96000") == 0) new_rate = FS_96000;
//        else if (strcmp(rate_str, "128000") == 0) new_rate = FS_128000;
//    }
//
//    // Procesar tamaño FFT
//    uint16_t new_size = fft_size;
//    if (size_str) {
//        int size_val = atoi(size_str);
//        if (size_val == 1024 || size_val == 2048) {
//            new_size = size_val;
//        }
//    }
//
//    // Aplicar cambios si son diferentes
//    if (new_rate != current_sample_rate || new_size != fft_size) {
//        current_sample_rate = new_rate;
//        fft_size = new_size;
//        configure_sample_timer(current_sample_rate);
//    }
//
//    // Confirmar configuración
//    const char* rate_names[] = {"44.1KHz", "48KHz", "96KHz", "128KHz"};
//    char response[64];
//    snprintf(response, sizeof(response), "OK:SAMPLE_RATE=%s,FFT_SIZE=%d\r\n",
//            rate_names[current_sample_rate], fft_size);
//    HAL_UART_Transmit(&huart2, (uint8_t*)response, strlen(response), 100);
//}
void comandoPrintADC(void) {
    HAL_ADC_Stop_DMA(&hadc1);

    char header[64];
    int len = snprintf(header, sizeof(header), "ADC_RAW:%d samples\r\n", fft_size);
    HAL_UART_Transmit(&huart2, (uint8_t*)header, len, 100);

    char tx_buf[ADC_TX_BLOCK_SIZE * 7]; // Usar define global

    int samples_sent = 0;
    while(samples_sent < fft_size) {
        int block_size = (fft_size - samples_sent) > ADC_TX_BLOCK_SIZE ?
                         ADC_TX_BLOCK_SIZE : (fft_size - samples_sent);
        int buf_pos = 0;

        // Formatear bloque de muestras
        for(int i = 0; i < block_size; i++) {
            int sample = adc_buffer[samples_sent + i];
            buf_pos += snprintf(tx_buf + buf_pos, sizeof(tx_buf) - buf_pos, "%d\n", sample);
        }

        // Enviar bloque
        HAL_UART_Transmit(&huart2, (uint8_t*)tx_buf, buf_pos, HAL_MAX_DELAY);
        samples_sent += block_size;

        // Pequeña pausa para permitir procesamiento de otras tareas
        HAL_Delay(1);
    }

    // Reiniciar adquisición
    HAL_ADC_Start_DMA(&hadc1, (uint32_t*)adc_buffer, fft_size);

    // Confirmar finalización
    const char* end_msg = "END_ADC_RAW\r\n";
    HAL_UART_Transmit(&huart2, (uint8_t*)end_msg, strlen(end_msg), 100);
}

void comandoPrintFFT(void) {
    if (!fft_ready) {
        const char* error_msg = "ERROR:FFT no calculada\r\n";
        HAL_UART_Transmit(&huart2, (uint8_t*)error_msg, strlen(error_msg), 100);
        return;
    }
    char header[64];
    int len = snprintf(header, sizeof(header), "FFT_SPECTRUM:%d bins\r\n", fft_size / 2);
    HAL_UART_Transmit(&huart2, (uint8_t*)header, len, 100);

    char tx_buf[FFT_TX_BLOCK_SIZE * 16]; // Usar define global

    int bins_sent = 0;
    int total_bins = fft_size / 2;

    while (bins_sent < total_bins) {
        int block_size = (total_bins - bins_sent) > FFT_TX_BLOCK_SIZE ?
                         FFT_TX_BLOCK_SIZE : (total_bins - bins_sent);
        // ... resto del código ...
        int buf_pos = 0;

        // Formatear bloque de bins
        for (int i = 0; i < block_size; i++) {
            buf_pos += snprintf(tx_buf + buf_pos, sizeof(tx_buf) - buf_pos,
                               "%.2f\n", fft_mag[bins_sent + i]);
        }

        // Enviar bloque
        HAL_UART_Transmit(&huart2, (uint8_t*)tx_buf, buf_pos, HAL_MAX_DELAY);
        bins_sent += block_size;

        // Pequeña pausa
        HAL_Delay(1);
    }

    // Confirmar finalización
    const char* end_msg = "END_FFT_SPECTRUM\r\n";
    HAL_UART_Transmit(&huart2, (uint8_t*)end_msg, strlen(end_msg), 100);
}

void comandoPrintFFTPeak(void) {
    if (!fft_ready) {
        const char* error_msg = "ERROR:FFT no calculada\r\n";
        HAL_UART_Transmit(&huart2, (uint8_t*)error_msg, strlen(error_msg), 100);
        return;
    }

    // Calcular parámetros importantes
    int total_bins = fft_size / 2;

    // 1. Encontrar pico fundamental (excluyendo DC)
    int peak_bin = 1; // Comenzar desde bin 1 (el 0 es DC)
    float peak_mag = fft_mag[1];

    for (int i = 2; i < total_bins; i++) {
        if (fft_mag[i] > peak_mag) {
            peak_mag = fft_mag[i];
            peak_bin = i;
        }
    }

    // 2. Calcular frecuencia del pico
    float sample_rate_value;
    switch(current_sample_rate) {
        case FS_44100: sample_rate_value = 44100.0f; break;
        case FS_48000: sample_rate_value = 48000.0f; break;
        case FS_96000: sample_rate_value = 96000.0f; break;
        case FS_128000: sample_rate_value = 128000.0f; break;
        default: sample_rate_value = 48000.0f;
    }

    float bin_width = sample_rate_value / fft_size;
    float peak_freq = peak_bin * bin_width;

    // 3. Calcular potencia total
    float total_power = 0.0f;
    for (int i = 1; i < total_bins; i++) {
        total_power += fft_mag[i] * fft_mag[i];
    }

    // 4. Componente DC
    float dc_offset = fft_mag[0] / fft_size;

    // 5. Calcular THD aproximado (suma de armónicos / fundamental)
    float harmonic_power = 0.0f;
    int fundamental = peak_bin;

    // Considerar hasta 5 armónicos
    for (int h = 2; h <= 5; h++) {
        int harmonic_bin = fundamental * h;
        if (harmonic_bin < total_bins) {
            harmonic_power += fft_mag[harmonic_bin] * fft_mag[harmonic_bin];
        }
    }

    float thd = (harmonic_power > 0) ? sqrtf(harmonic_power) / peak_mag : 0.0f;

    // Preparar y enviar resultados
    char response[256];
    int len = snprintf(response, sizeof(response),
        "FFT_PEAK_RESULTS:\r\n"
        "Fundamental Frequency: %.2f Hz\r\n"
        "Peak Amplitude: %.2f\r\n"
        "Total Power: %.2f\r\n"
        "DC Offset: %.2f\r\n"
        "Approx THD: %.2f%%\r\n"
        "END_FFT_PEAK\r\n",
        peak_freq,
        peak_mag,
        total_power,
        dc_offset,
        thd * 100.0f);

    HAL_UART_Transmit(&huart2, (uint8_t*)response, len, 100);
}
// Función para cambiar tamaño FFT
void set_fft_size(uint16_t new_size) {
    // Solo si es diferente
    if (new_size == fft_size) return;

    // Deshabilitar interrupciones durante el cambio
    __disable_irq();

    // Detener adquisición
    HAL_ADC_Stop_DMA(&hadc1);

    // Actualizar tamaño
    fft_size = new_size;

    // Reinicializar FFT
    arm_rfft_fast_init_f32(&fftInstance, fft_size);

    // Reiniciar ADC con nuevo tamaño
    HAL_ADC_Start_DMA(&hadc1, (uint32_t*)adc_buffer, fft_size);

    // Resetear estado de FFT
    fft_ready = 0;

    // Habilitar interrupciones
    __enable_irq();
}

// Función para cambiar frecuencia de muestreo
void set_sample_rate(sample_rate_t new_rate) {
    // Solo si es diferente
    if (new_rate == current_sample_rate) return;

    // Deshabilitar interrupciones durante el cambio
    __disable_irq();

    // Detener periféricos
    HAL_TIM_Base_Stop(&htim3);
    HAL_ADC_Stop_DMA(&hadc1);

    // Configurar timer según nueva frecuencia
    switch(new_rate) {
        case FS_44100:
            __HAL_TIM_SET_PRESCALER(&htim3, 0);
            __HAL_TIM_SET_AUTORELOAD(&htim3, 363);
            break;
        case FS_48000:
            __HAL_TIM_SET_PRESCALER(&htim3, 0);
            __HAL_TIM_SET_AUTORELOAD(&htim3, 333);
            break;
        case FS_96000:
            __HAL_TIM_SET_PRESCALER(&htim3, 0);
            __HAL_TIM_SET_AUTORELOAD(&htim3, 167);
            break;
        case FS_128000:
            __HAL_TIM_SET_PRESCALER(&htim3, 0);
            __HAL_TIM_SET_AUTORELOAD(&htim3, 125);
            break;
    }

    // Actualizar variable global
    current_sample_rate = new_rate;

    // Reiniciar periféricos
    __HAL_TIM_SET_COUNTER(&htim3, 0);
    HAL_TIM_Base_Start(&htim3);
    HAL_ADC_Start_DMA(&hadc1, (uint32_t*)adc_buffer, fft_size);

    // Resetear estado de FFT
    fft_ready = 0;

    // Habilitar interrupciones
    __enable_irq();
}

void ProcessUARTCommand(char* command)
{
    clean_command(command);  // Limpiar caracteres de nueva línea

	  // Comando para cambiar frecuencia del LED
	  if (strncmp(command, "FREQ=", 5) == 0) {
		  comandoLED(command);
	  }
	  else if (strncmp(command, "RGB=", 4) == 0) {
		  comandoRGB(command);
	  }
	  // Comando para cambiar SOLO tamaño FFT
	      else if (strncmp(command, "SET_FFT_SIZE=", 13) == 0) {
	          char* size_str = command + 13;
	          int size_val = atoi(size_str);

	          if (size_val == 1024 || size_val == 2048) {
	              set_fft_size((uint16_t)size_val);
	          }
	          else {
	              const char* error_msg = "ERROR:Tamaño FFT invalido (1024,2048)\r\n";
	              HAL_UART_Transmit(&huart2, (uint8_t*)error_msg, strlen(error_msg), 100);
	              return;
	          }

	          // Confirmación
	          char response[40];
	          snprintf(response, sizeof(response), "OK:FFT_SIZE=%d\r\n", fft_size);
	          HAL_UART_Transmit(&huart2, (uint8_t*)response, strlen(response), 100);
	      }
	  //Comando cambio de muestreo
//	  else if (strncmp(command, "SAMPLE_RATE=", 12) == 0) {
//		  comandoFrecuenciaMuestreo(command);
//	    }
	  //FIN COMANDO CAMBIAR MUESTREO
	  // Comando para cambiar SOLO frecuencia de muestreo
	     else if (strncmp(command, "SET_SAMPLE_RATE=", 16) == 0) {
	         char* rate_str = command + 16;

	         if (strcmp(rate_str, "44100") == 0) {
	             set_sample_rate(FS_44100);
	         }
	         else if (strcmp(rate_str, "48000") == 0) {
	             set_sample_rate(FS_48000);
	         }
	         else if (strcmp(rate_str, "96000") == 0) {
	             set_sample_rate(FS_96000);
	         }
	         else if (strcmp(rate_str, "128000") == 0) {
	             set_sample_rate(FS_128000);
	         }
	         else {
	             const char* error_msg = "ERROR:Frecuencia invalida (44100,48000,96000,128000)\r\n";
	             HAL_UART_Transmit(&huart2, (uint8_t*)error_msg, strlen(error_msg), 100);
	             return;
	         }

	         // Confirmación
	         const char* rate_names[] = {"44.1KHz", "48KHz", "96KHz", "128KHz"};
	         char response[50];
	         snprintf(response, sizeof(response), "OK:SAMPLE_RATE=%s\r\n", rate_names[current_sample_rate]);
	         HAL_UART_Transmit(&huart2, (uint8_t*)response, strlen(response), 100);
	     }
	  else if (strcmp(command, "PRINT_ADC") == 0) {
	        comandoPrintADC();
	    }
	  else if (strcmp(command, "PRINT_FFT") == 0) {
	        comandoPrintFFT();
	    }
	   else if (strcmp(command, "FFT_PEAK") == 0) {
	        comandoPrintFFTPeak();
	    }
	    else if (strcmp(command, "HELP") == 0) {
	        comandoHelp();
	    }

}

void compute_fft(void) {
    // Convertir datos ADC a float
    for (int i = 0; i < fft_size; i++) {
        fft_input[i] = (float32_t)adc_buffer[i];
    }

    // Calcular FFT
    arm_rfft_fast_f32(&fftInstance, fft_input, fft_output, 0);

    // Calcular magnitudes (solo primera mitad)
    arm_cmplx_mag_f32(fft_output, fft_mag, fft_size / 2);

    fft_ready = 1;
}

void comandoHelp(void) {
    const char *help_message =
        "Comandos disponibles:\r\n"
        "FREQ=<frecuencia> - Cambia frecuencia LED (1-100 Hz)\r\n"
        "RGB=<r,g,b> - Enciende/Apaga LEDs RGB (ej: RGB=1,0,1)\r\n"
		"SET_SAMPLE_RATE=<frecuencia> - Configura frecuencia de muestreo (44100,48000,96000,128000)\r\n"
		"SET_FFT_SIZE=<tamaño> - Configura tamaño FFT (1024,2048)\r\n"        "PRINT_ADC - Imprime valores ADC crudos\r\n"
        "PRINT_FFT - Imprime espectro FFT completo\r\n"
        "FFT_PEAK - Imprime parámetros clave de FFT (frecuencia, potencia, etc.)\r\n"
        "HELP - Muestra esta ayuda\r\n"
        "END_HELP\r\n";  // Marcador de fin

    HAL_UART_Transmit(&huart2, (uint8_t*)help_message, strlen(help_message), 100);
}
void clean_command(char* cmd) {
    char* p = cmd;
    while (*p) {
        if (*p == '\r' || *p == '\n') {
            *p = '\0';
            break;
        }
        p++;
    }
}

// %%%%%%% CALLBACKS %%%%%%%%%%%
void HAL_ADC_ConvCpltCallback(ADC_HandleTypeDef* hadc) {
    if (hadc->Instance == ADC1) {
    	flag_adc_ready = 1;
    }
}
//Timers
void HAL_TIM_PeriodElapsedCallback(TIM_HandleTypeDef *htim)
{
	if(htim->Instance == TIM2)
	{
		timer2FLAG = 1;
	}
	else if(htim->Instance == TIM4)
	{
		display7segmentFLAG=1;
	}
}

//EXTI
void HAL_GPIO_EXTI_Callback(uint16_t GPIO_Pin)
{
	if(GPIO_Pin == pinEncoderCLK_Pin)
	{
		valorCLK = HAL_GPIO_ReadPin(pinEncoderCLK_GPIO_Port, pinEncoderCLK_Pin);
		valorDT = HAL_GPIO_ReadPin(pinEncoderDT_GPIO_Port, pinEncoderDT_Pin);
		encoderCLKextiFLAG = 1;
	}
	else if(GPIO_Pin == pinEncoderSW_Pin)
	{
		encoderSWextiFLAG = 1;
	}
}
void HAL_UART_RxCpltCallback(UART_HandleTypeDef *huart)
{
  if (huart->Instance == USART2) {
    if (uart_rx_buffer[uart_rx_index] == '\n' || uart_rx_index >= UART_RX_BUF_SIZE - 1 ||uart_rx_buffer[uart_rx_index] == '\r') {
      uart_rx_flag = 1;
    } else {
      uart_rx_index++;
      HAL_UART_Receive_IT(&huart2, &uart_rx_buffer[uart_rx_index], 1);
    }
  }
}
/* USER CODE END 4 */

void Error_Handler(void)
{
  __disable_irq();
  while (1)
  {
  }
}
